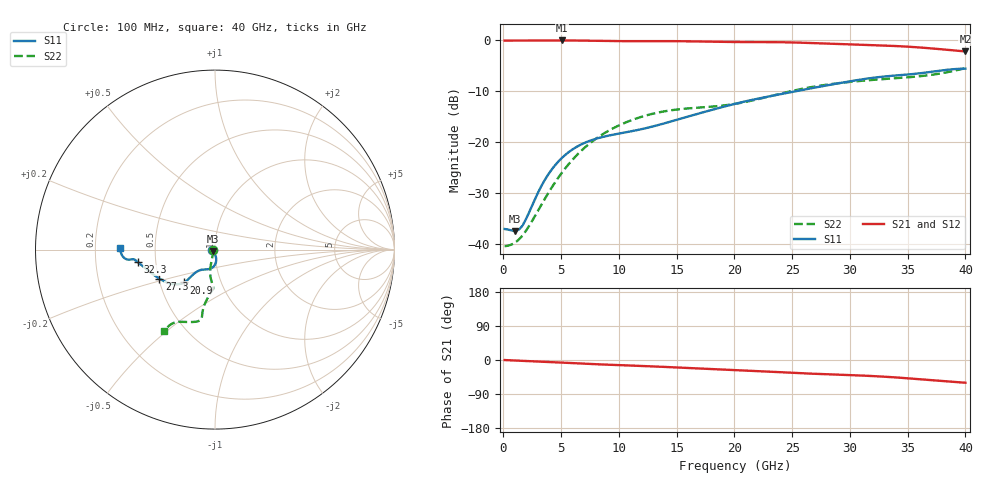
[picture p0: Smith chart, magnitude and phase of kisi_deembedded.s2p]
! B_s8_L1L3_bd_d300: kisi-fdtd, de-embedded with the 2×thru
# Hz S RI R 50
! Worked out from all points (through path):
!   400 points, 100 MHz to 40 GHz, reference 50 ohm
!   highest |S21| = -0.03 dB at 5.1 GHz (marker M1); lowest = -2.2 dB at 40 GHz (marker M2)
!   group delay of S21, straight-line fit = 3.92 ps
!   lowest |S11| = -37.3 dB at 1 GHz (marker M3), VSWR 1.03, Z = 48.9 - j0.706 ohm
!   |S11| at or under -10 dB: start of sweep to 25.25 GHz
!   |S22| runs from -40.3 to -5.5 dB; largest |S21 - S12| = 0.0013
!   S11 on the Smith chart (normalised r, x): 100 MHz: 0.97, -0.00; 20.9 GHz: 0.67, -0.26; 27.3 GHz: 0.50, -0.18; 32.3 GHz: 0.40, -0.07; 40 GHz: 0.31, +0.01
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1e8  -0.0141 -0.000665  0.9933 -0.00228  0.9937 -0.0023  -0.00961 -0.000365
1e9  -0.0115 -0.00723  0.9929 -0.0227  0.9933 -0.0229  -0.00964 -0.00396
1.4e9  -0.00918 -0.0109  0.9926 -0.0317  0.993 -0.032  -0.00969 -0.00596
1.7e9  -0.00711 -0.014  0.9924 -0.0384  0.9927 -0.0387  -0.00978 -0.00771
2.3e9  -0.0026 -0.0215  0.992 -0.0517  0.9922 -0.0522  -0.0101 -0.012
3.5e9  0.005 -0.0411  0.9915 -0.0793  0.9914 -0.0796  -0.0117 -0.0243
4.3e9  0.00682 -0.0561  0.9908 -0.0988  0.9905 -0.099  -0.0136 -0.0354
5.1e9  0.00508 -0.0709  0.989 -0.1192  0.9887 -0.1193  -0.0163 -0.0485
6.8e9  -0.00927 -0.0958  0.9798 -0.1628  0.9796 -0.1626  -0.0227 -0.0809
8.2e9  -0.0274 -0.1066  0.9682 -0.1948  0.9682 -0.1946  -0.0265 -0.1092
9.7e9  -0.0477 -0.1103  0.9563 -0.2239  0.9564 -0.2238  -0.0265 -0.1386
1.15e10  -0.0693 -0.1115  0.9463 -0.2567  0.9464 -0.2568  -0.0212 -0.1701
1.34e10  -0.09 -0.1172  0.9363 -0.2952  0.9364 -0.2954  -0.0137 -0.1956
2.01e10  -0.1618 -0.1765  0.86 -0.4304  0.86 -0.4303  -0.023 -0.2376
2.09e10  -0.1723 -0.1832  0.851 -0.4458  0.8511 -0.4457  -0.0284 -0.2464
2.4e10  -0.2253 -0.1932  0.8097 -0.5103  0.8098 -0.5104  -0.0535 -0.2956
2.67e10  -0.2938 -0.1707  0.7594 -0.5538  0.7593 -0.5538  -0.0686 -0.3418
2.73e10  -0.3105 -0.1611  0.748 -0.5602  0.7479 -0.5602  -0.07 -0.3508
3.23e10  -0.4274 -0.0711  0.6544 -0.6079  0.6546 -0.6078  -0.0983 -0.4001
3.34e10  -0.4425 -0.0591  0.6267 -0.6232  0.6271 -0.6232  -0.1199 -0.4031
3.77e10  -0.4996 -0.0509  0.4733 -0.6702  0.4727 -0.6707  -0.2319 -0.4091
4e10  -0.5277 0.0076  0.3884 -0.6737  0.3875 -0.6728  -0.2817 -0.4529
